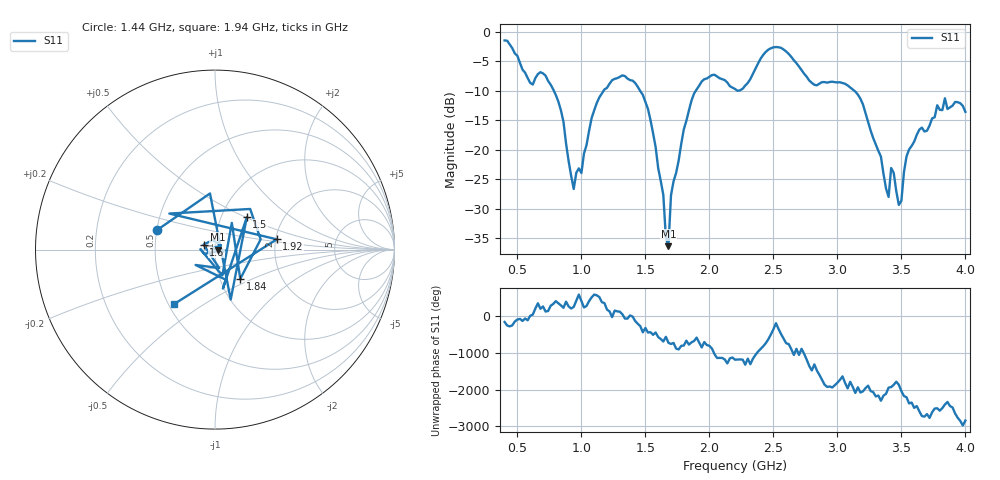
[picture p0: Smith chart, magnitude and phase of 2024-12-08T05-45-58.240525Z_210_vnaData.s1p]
!Created with skrf (http://scikit-rf.org).
# Hz S RI R 50.0
!freq ReS11 ImS11
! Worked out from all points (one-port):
!   181 points, 400 MHz to 4 GHz, reference 50 ohm
!   lowest |S11| = -36.3 dB at 1.68 GHz (marker M1), VSWR 1.03, Z = 51.5 + j0.0341 ohm
!   |S11| at or under -10 dB: 784.8 MHz to 1.173 GHz (388.5 MHz wide, 39.7 % of centre); 1.458 GHz to 1.894 GHz (435.3 MHz wide, 26 % of centre); 3.132 GHz to end of sweep (the widest 3 of 4)
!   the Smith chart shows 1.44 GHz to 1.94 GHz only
!   S11 on the Smith chart (normalised r, x): 1.44 GHz: 0.50, +0.12; 1.5 GHz: 1.32, +0.51; 1.6 GHz: 0.88, +0.05; 1.84 GHz: 1.25, -0.43; 1.92 GHz: 2.03, +0.26; 1.94 GHz: 0.54, -0.38
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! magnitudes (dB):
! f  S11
! 400 MHz  -1.5
! 600 MHz  -8.7
! 720 MHz  -7.4
! 860 MHz  -15.3
! 940 MHz  -26.6
! 1.12 GHz  -12.1
! 1.3 GHz  -7.6
! 1.44 GHz  -9.3
! 1.5 GHz  -11.9
! 1.6 GHz  -23.1
! 1.68 GHz  -36.3
! 1.7 GHz  -27.7
! 1.76 GHz  -21.8
! 1.84 GHz  -13.3
! 1.92 GHz  -9.1
! 1.94 GHz  -8.4
! 2.2 GHz  -9.7
! 2.48 GHz  -2.8
! 2.66 GHz  -4.8
! 2.82 GHz  -9.0
! 3.1 GHz  -9.4
! 3.2 GHz  -12.3
! 3.4 GHz  -28.0
! 3.42 GHz  -23.1
! 3.5 GHz  -28.6
! 3.56 GHz  -19.9
! 3.84 GHz  -11.3
! 4 GHz  -13.6
